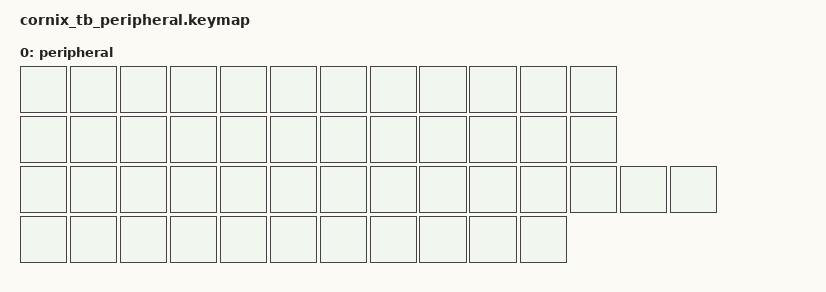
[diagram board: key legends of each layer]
/* SPDX-License-Identifier: MIT
 * No host behaviors on this peripheral. The XIAO owns config/Cornix_tb.keymap.
 */
#include <behaviors.dtsi>
/ {
    keymap {
        compatible = "zmk,keymap";
        peripheral {
            bindings = <
&none &none &none &none &none &none &none &none &none &none &none &none
&none &none &none &none &none &none &none &none &none &none &none &none
&none &none &none &none &none &none &none &none &none &none &none &none &none &none
&none &none &none &none &none &none &none &none &none &none &none
            >;
        };
    };
};
